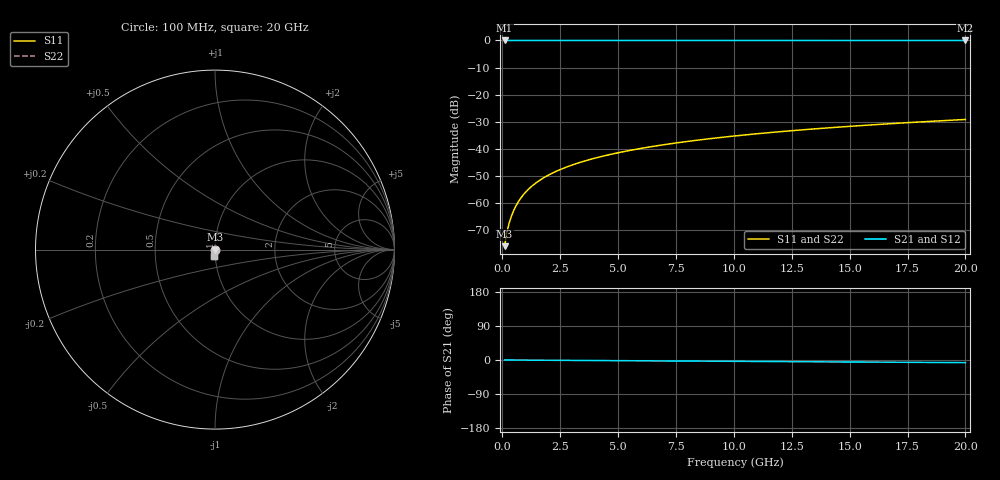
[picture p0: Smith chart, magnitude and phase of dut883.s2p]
! Touchstone file exported from HFSS 2026.1.0
!  File:  C:/ffzhzh/LocalFiles/Ansys_Project_Files/temp_train_TSV_883_1783185799_55132.aedt
!  Generated:  01:24:39 AM Jul  5, 2026
!  Design:  TSV
!  Project:  temp_train_TSV_883_1783185799_55132
! Variables:
!  h_bsmrdl = 2um
!  h_ox = 20um
!  h_rdl = 5um
!  h_sub = 67.71um
!  h_tmrdl = 5um
!  h_tsv = 67.71um
!  h_via = 3um
!  l_bsmrdl = 300um
!  l_sub = 424.84um
!  l_tmrdl = 200um
!  m_sub = 200um
!  pitch = 38.26um
!  r_tsv = 12.42um
!  s_tmrdl = 10um
!  w_bsmrdl = 18um
!  w_sub = 500um
!  w_tmrdl = 12um
!  x_tsv_center1 = 206um
!  x_tsv_center2 = 524um
!  x_tsv_center3 = 736um
!  x_tsv_center4 = 1054um
!  x_tsv_center5 = 1266um
!  x_tsv_center6 = 1584um
# GHz S MA R 50.000000
! Terminal data exported
! Port[1] = TSV1_1_T1
! Port[2] = TSV1_1_T2
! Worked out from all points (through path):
!   200 points, 100 MHz to 20 GHz, reference 50 ohm
!   highest |S21| = 0.00 dB at 100 MHz (marker M1); lowest = 0.0 dB at 20 GHz (marker M2)
!   lowest |S11| = -75.9 dB at 100 MHz (marker M3), VSWR 1.00, Z = 50 - j0.0135 ohm
!   |S11| at or under -10 dB: start of sweep to end of sweep
!   |S22| runs from -75.9 to -29.2 dB; largest |S21 - S12| = 1.5e-15
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0.1  0.00016 -57.2  0.9999 -0.0  0.9999 -0.0  0.00016 -57.2
! Gamma 0 0 0 0
! Port Impedance 50 0 50 0
0.2  0.0002899 -70.0  0.9999 -0.1  0.9999 -0.1  0.0002899 -70.0
0.3  0.0004321 -74.2  0.9999 -0.1  0.9999 -0.1  0.0004321 -74.2
0.4  0.0005826 -76.3  0.9999 -0.1  0.9999 -0.1  0.0005826 -76.3
0.5  0.0007396 -77.5  0.9998 -0.2  0.9998 -0.2  0.0007396 -77.5
0.7  0.001067 -79.2  0.9998 -0.3  0.9998 -0.3  0.001067 -79.2
0.8  0.001235 -79.9  0.9998 -0.3  0.9998 -0.3  0.001235 -79.9
1  0.001575 -81.1  0.9997 -0.4  0.9997 -0.4  0.001575 -81.1
1.2  0.001918 -82.1  0.9997 -0.4  0.9997 -0.4  0.001918 -82.1
1.4  0.002261 -82.9  0.9997 -0.5  0.9997 -0.5  0.002261 -82.9
1.7  0.002776 -83.9  0.9997 -0.6  0.9997 -0.6  0.002776 -83.9
2  0.003291 -84.7  0.9997 -0.7  0.9997 -0.7  0.003291 -84.7
2.7  0.004493 -86.0  0.9996 -1.0  0.9996 -1.0  0.004493 -86.0
3.5  0.00587 -87.0  0.9995 -1.2  0.9995 -1.2  0.00587 -87.0
4.2  0.00708 -87.6  0.9995 -1.5  0.9995 -1.5  0.00708 -87.6
5  0.008469 -88.2  0.9994 -1.8  0.9994 -1.8  0.008469 -88.2
6.8  0.01161 -89.3  0.9993 -2.4  0.9993 -2.4  0.01161 -89.3
8.3  0.01424 -90.2  0.9992 -2.9  0.9992 -2.9  0.01424 -90.2
10.1  0.0174 -91.1  0.9991 -3.5  0.9991 -3.5  0.0174 -91.1
13.4  0.02321 -92.5  0.9989 -4.7  0.9989 -4.7  0.02321 -92.5
16.7  0.02902 -93.9  0.9986 -5.8  0.9986 -5.8  0.02902 -93.9
20  0.03483 -95.2  0.9983 -7.0  0.9983 -7.0  0.03483 -95.2
